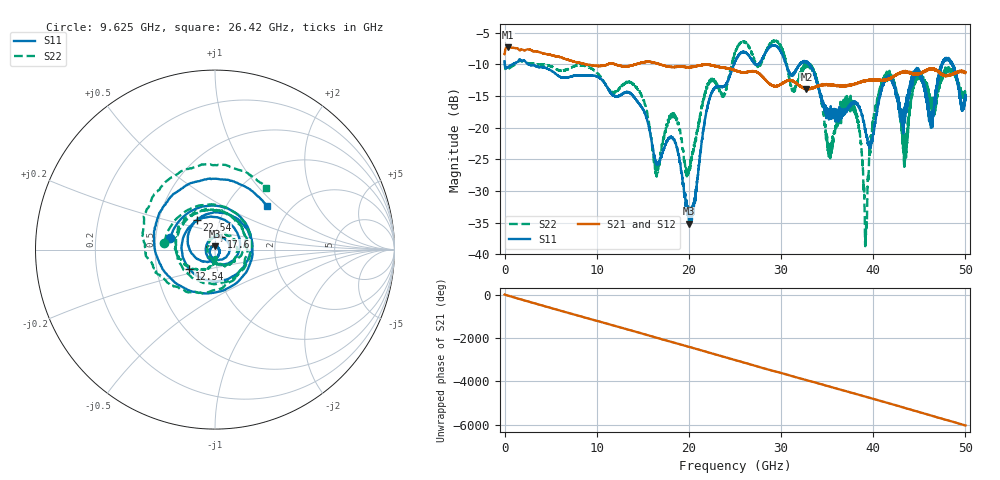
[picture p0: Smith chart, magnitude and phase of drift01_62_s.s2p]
!Created with skrf (http://scikit-rf.org).
# Hz S RI R 50.0
!freq ReS11 ImS11 ReS21 ImS21 ReS12 ImS12 ReS22 ImS22
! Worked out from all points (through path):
!   10001 points, 300 kHz to 50 GHz, reference 50 ohm
!   highest |S21| = -7.33 dB at 325.3 MHz (marker M1); lowest = -14.0 dB at 32.76 GHz (marker M2)
!   group delay of S21, straight-line fit = 335 ps
!   lowest |S11| = -35.2 dB at 20.01 GHz (marker M3), VSWR 1.04, Z = 49.9 + j1.74 ohm
!   |S11| at or under -10 dB: 2.554 GHz to 24.9 GHz (22.35 GHz wide, 163 % of centre); 30.53 GHz to 32.04 GHz (1.51 GHz wide, 4.83 % of centre); 33.06 GHz to 47.44 GHz (14.38 GHz wide, 35.7 % of centre) (the widest 3 of 25)
!   |S22| runs from -38.7 to -6.3 dB; largest |S21 - S12| = 0.01
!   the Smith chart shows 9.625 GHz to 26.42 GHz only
!   S11 on the Smith chart (normalised r, x): 9.625 GHz: 0.60, +0.08; 12.54 GHz: 0.73, -0.16; 17.6 GHz: 1.06, +0.15; 22.54 GHz: 0.78, +0.26; 26.42 GHz: 1.51, +0.86
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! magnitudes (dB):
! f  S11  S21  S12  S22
! 300 kHz  -9.5  -8.4  -8.5  -9.5
! 325.3 MHz  -10.5  -7.3  -7.3  -10.9
! 8.335 GHz  -11.8  -9.9  -9.8  -10.2
! 9.625 GHz  -11.8  -10.2  -10.2  -10.9
! 12.54 GHz  -14.9  -10.3  -10.3  -13.6
! 16.67 GHz  -25.8  -10.0  -9.9  -26.9
! 17.6 GHz  -22.1  -10.3  -10.3  -19.7
! 20.01 GHz  -35.2  -10.5  -10.5  -26.9
! 22.54 GHz  -14.3  -10.2  -10.2  -12.4
! 25 GHz  -9.6  -11.0  -11.0  -8.2
! 26.42 GHz  -8.5  -11.2  -11.2  -7.0
! 32.76 GHz  -9.7  -14.0  -13.8  -10.0
! 33.34 GHz  -10.7  -13.8  -13.8  -10.6
! 35.26 GHz  -18.0  -13.2  -13.2  -23.4
! 37.97 GHz  -15.9  -13.1  -13.1  -17.5
! 39.17 GHz  -20.4  -12.6  -12.6  -38.6
! 40.11 GHz  -20.1  -12.5  -12.5  -17.8
! 41.67 GHz  -11.9  -12.3  -12.3  -11.8
! 43.43 GHz  -18.0  -11.3  -11.3  -24.2
! 44.88 GHz  -10.8  -11.5  -11.6  -12.4
! 46.27 GHz  -20.0  -10.7  -10.7  -16.3
! 50 GHz  -15.7  -11.3  -11.3  -15.1
